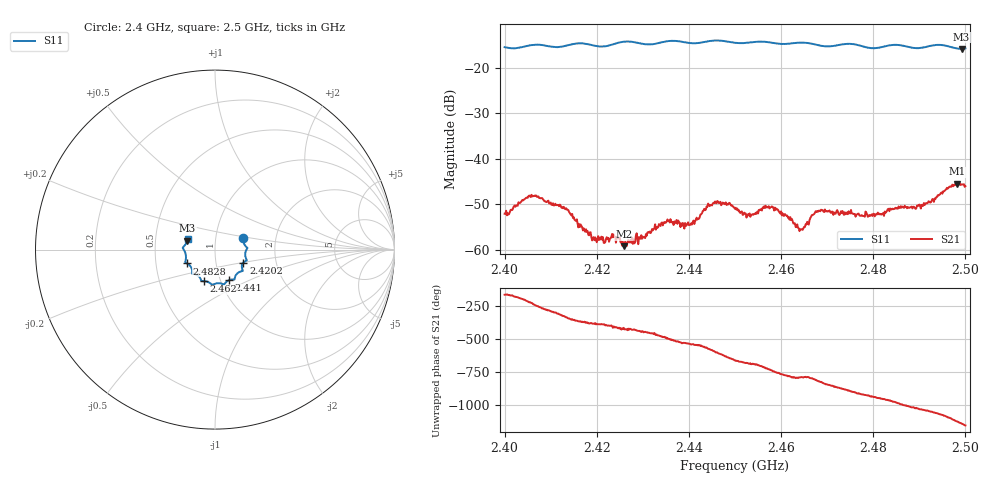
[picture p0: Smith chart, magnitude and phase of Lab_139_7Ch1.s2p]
# Hz S RI R 50
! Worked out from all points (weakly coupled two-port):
!   601 points, 2.4 GHz to 2.5 GHz, reference 50 ohm
!   highest |S21| = -45.45 dB at 2.4982 GHz (marker M1); lowest = -59.2 dB at 2.4258 GHz (marker M2)
!   lowest |S11| = -15.8 dB at 2.4992 GHz (marker M3), VSWR 1.39, Z = 36.4 + j3.72 ohm
!   |S11| at or under -10 dB: start of sweep to end of sweep
!   S12 and S22 are empty: the file has one direction only
!   S11 on the Smith chart (normalised r, x): 2.4 GHz: 1.36, +0.17; 2.4202 GHz: 1.36, -0.20; 2.441 GHz: 1.10, -0.39; 2.462 GHz: 0.83, -0.30; 2.4828 GHz: 0.72, -0.11; 2.5 GHz: 0.73, +0.09
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2.4e9  0.1581 0.062  -0.00235 -0.000827  0 0  0 0
2.406333e9  0.1798 0.0105  -0.00223 0.00319  0 0  0 0
2.413333e9  0.1707 -0.0433  0.00255 0.00132  0 0  0 0
2.416667e9  0.1769 -0.0604  0.00182 -0.000283  0 0  0 0
2.420167e9  0.158 -0.072  0.00118 -0.000575  0 0  0 0
2.4235e9  0.1505 -0.1025  0.000831 -0.00109  0 0  0 0
2.425833e9  0.1559 -0.1168  0.000653 -0.000881  0 0  0 0
2.433333e9  0.1117 -0.151  -0.00064 -0.00165  0 0  0 0
2.441e9  0.078 -0.1702  -0.0021 -3.91e-05  0 0  0 0
2.445833e9  0.0502 -0.1947  -0.00159 0.00288  0 0  0 0
2.45e9  0.0278 -0.1875  0.00147 0.00241  0 0  0 0
2.453e9  -0.000736 -0.1907  0.00201 0.0013  0 0  0 0
2.457833e9  -0.0247 -0.189  0.00282 -0.000864  0 0  0 0
2.462e9  -0.0609 -0.1756  0.000937 -0.00209  0 0  0 0
2.464333e9  -0.0745 -0.175  0.000589 -0.00158  0 0  0 0
2.466667e9  -0.0787 -0.1678  0.000521 -0.00235  0 0  0 0
2.482833e9  -0.1571 -0.0769  -0.00113 0.00236  0 0  0 0
2.483333e9  -0.1602 -0.0754  -0.00117 0.00258  0 0  0 0
2.490833e9  -0.1676 -0.0131  0.00231 0.00199  0 0  0 0
2.498167e9  -0.1601 0.0366  0.00354 -0.004  0 0  0 0
2.499167e9  -0.1549 0.0497  0.00224 -0.00474  0 0  0 0
2.5e9  -0.1524 0.0615  0.000959 -0.00493  0 0  0 0
